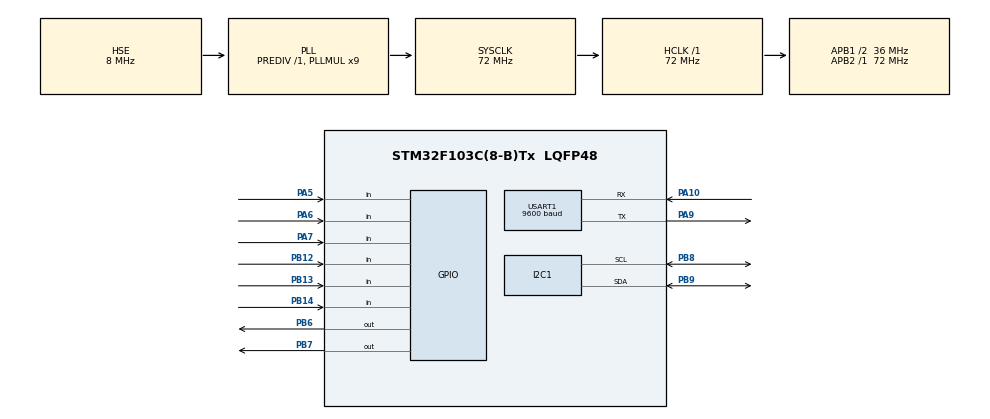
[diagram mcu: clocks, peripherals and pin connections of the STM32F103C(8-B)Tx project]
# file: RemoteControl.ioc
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I2C1.I2C_Mode=I2C_Fast
Mcu.Family=STM32F1
Mcu.Name=STM32F103C(8-B)Tx
Mcu.Package=LQFP48
NVIC.PriorityGroup=NVIC_PRIORITYGROUP_4
NVIC.USART1_IRQn=true\:0\:0\:false\:false\:true\:true\:true\:true
PA10.Mode=Asynchronous
PA10.Signal=USART1_RX
PA13.Mode=Serial_Wire
PA13.Signal=SYS_JTMS-SWDIO
PA14.Mode=Serial_Wire
PA14.Signal=SYS_JTCK-SWCLK
PA5.GPIO_PuPd=GPIO_PULLUP
PA5.Signal=GPIO_Input
PA6.GPIO_PuPd=GPIO_PULLUP
PA6.Signal=GPIO_Input
PA7.GPIO_PuPd=GPIO_PULLUP
PA7.Signal=GPIO_Input
PA9.Mode=Asynchronous
PA9.Signal=USART1_TX
PB12.GPIO_PuPd=GPIO_PULLDOWN
PB12.Signal=GPIO_Input
PB13.GPIO_PuPd=GPIO_PULLDOWN
PB13.Signal=GPIO_Input
PB14.GPIO_PuPd=GPIO_PULLDOWN
PB14.Signal=GPIO_Input
PB6.Signal=GPIO_Output
PB7.Signal=GPIO_Output
PB8.Mode=I2C
PB8.Signal=I2C1_SCL
PB9.Mode=I2C
PB9.Signal=I2C1_SDA
PD0-OSC_IN.Mode=HSE-External-Oscillator
PD0-OSC_IN.Signal=RCC_OSC_IN
PD1-OSC_OUT.Mode=HSE-External-Oscillator
PD1-OSC_OUT.Signal=RCC_OSC_OUT
ProjectManager.HeapSize=0x200
ProjectManager.StackSize=0x400
ProjectManager.TargetToolchain=CMake
RCC.AHBFreq_Value=72000000
RCC.APB1CLKDivider=RCC_HCLK_DIV2
RCC.APB1Freq_Value=36000000
RCC.APB1TimFreq_Value=72000000
RCC.APB2Freq_Value=72000000
RCC.APB2TimFreq_Value=72000000
RCC.HCLKFreq_Value=72000000
RCC.PLLMUL=RCC_PLL_MUL9
RCC.PLLSourceVirtual=RCC_PLLSOURCE_HSE
RCC.SYSCLKFreq_VALUE=72000000
RCC.SYSCLKSource=RCC_SYSCLKSOURCE_PLLCLK
RCC.USBFreq_Value=72000000
USART1.BaudRate=9600
USART1.VirtualMode=VM_ASYNC
board=custom

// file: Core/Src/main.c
/* USER CODE BEGIN Header */
/**
  ******************************************************************************
  * @file           : main.c
  * @brief          : Main program body
  ******************************************************************************
  * @attention
  *
  * Copyright (c) 2025 STMicroelectronics.
  * All rights reserved.
  *
  * This software is licensed under terms that can be found in the LICENSE file
  * in the root directory of this software component.
  * If no LICENSE file comes with this software, it is provided AS-IS.
  *
  ******************************************************************************
  */
/* USER CODE END Header */
#include "main.h"
#include "i2c.h"
#include "usart.h"
#include "gpio.h"

/* USER CODE BEGIN Includes */
#include <string.h>

#include "OLED.h"
#include "MPU6050.h"
/* USER CODE END Includes */

/* USER CODE BEGIN PV */
uint8_t wakeup_flag = 0;
uint8_t wakeup_bag[4] = {0x20,0x02,0x01,0x61};//0x20：包头，0x02：二号遥控器�?0x01：一号功能表示唤醒，0x61：包�?
uint8_t ChosePlayer1[4] = {0x20,0x02,0x02,0x61};//0x20：包头，0x02：二号遥控器�?0x02：二号功能表示�?�择角色1�?0x61：包�?
uint8_t ChosePlayer2[4] = {0x20,0x02,0x03,0x61};//0x20：包头，0x02：二号遥控器�? 0x03：三号功能表示�?�择角色2�? 0x61：包�?
uint8_t Left[4] = {0x20,0x02,0x04,0x61};//0x20：包头，0x02：二号遥控器�? 0x04：四号功能表示左移，0x61：包�?
uint8_t Jump[4] = {0x20,0x02,0x05,0x61};//0x20：包头，0x02：二号遥控器�? 0x05：五号功能表示跳跃，0x61：包�?
uint8_t Right[4] = {0x20,0x02,0x06,0x61};//0x20：包头，0x02：二号遥控器�? 0x06：六号功能表示又移，0x61：包�?
uint8_t ChosePlayer1Flag = 0;
uint8_t ChosePlayer2Flag = 0;
uint8_t AnswerBuffer[4] = {0};
/* USER CODE END PV */

void SystemClock_Config(void);

int main(void)
{

  /* MCU Configuration--------------------------------------------------------*/

  /* Reset of all peripherals, Initializes the Flash interface and the Systick. */
  HAL_Init();

  /* Configure the system clock */
  SystemClock_Config();

  /* Initialize all configured peripherals */
  MX_GPIO_Init();
  MX_I2C1_Init();
  MX_USART1_UART_Init();
  /* USER CODE BEGIN 2 */
  OLED_Init();
  MPU6050_Init();
  MPU6050_t MPU6050Data;
  CalculateBias(&MPU6050Data);
  while (!(ChosePlayer1Flag || ChosePlayer2Flag)) {
    if (HAL_GPIO_ReadPin(GPIOA,GPIO_PIN_6) == GPIO_PIN_RESET) {
      HAL_Delay(50);
      if (HAL_GPIO_ReadPin(GPIOA,GPIO_PIN_6) == GPIO_PIN_RESET) {
        ChosePlayer1Flag = 1;
      }
    }
    if (HAL_GPIO_ReadPin(GPIOA,GPIO_PIN_7) == GPIO_PIN_RESET) {
      HAL_Delay(50);
      if (HAL_GPIO_ReadPin(GPIOA,GPIO_PIN_7) == GPIO_PIN_RESET) {
        ChosePlayer2Flag = 1;
      }
    }
  }

  /* USER CODE END 2 */

  /* Infinite loop */
  /* USER CODE BEGIN WHILE */
  while (1)
  {
    if (ChosePlayer1Flag ) {
      while ( AnswerBuffer[0] != 0x20 && AnswerBuffer[1] != 0x02 && AnswerBuffer[2] != 0x02 && AnswerBuffer[3] != 0x61) {
        HAL_UART_Transmit(&huart1, ChosePlayer1, sizeof(ChosePlayer1), 100);
        HAL_UART_Receive(&huart1, AnswerBuffer, sizeof(AnswerBuffer), HAL_MAX_DELAY);
      }
      memset(AnswerBuffer, 0, sizeof(AnswerBuffer));
      ChosePlayer1Flag = 0;
    }
    if (ChosePlayer2Flag) {
      while ( AnswerBuffer[0] != 0x20 && AnswerBuffer[1] != 0x02 && AnswerBuffer[2] != 0x03 && AnswerBuffer[3] != 0x61) {
        HAL_UART_Transmit(&huart1, ChosePlayer2, sizeof(ChosePlayer2), 100);
        HAL_UART_Receive(&huart1, AnswerBuffer, sizeof(AnswerBuffer), HAL_MAX_DELAY);
      }
    memset(AnswerBuffer, 0, sizeof(AnswerBuffer));
      ChosePlayer2Flag = 0;
    }
    MPU6050_ReadRaw(&MPU6050Data);
    ComputeEulerAngles(&MPU6050Data);
    OLED_ShowFloatNum(0,0,MPU6050Data.pitch,3,3,OLED_6X8);
    OLED_ShowFloatNum(0,16,MPU6050Data.roll,3,3,OLED_6X8);
    OLED_ShowNum(0,32,wakeup_flag,1,OLED_6X8);
    if (MPU6050Data.pitch > 20) {
      wakeup_flag = 1;
      HAL_UART_Transmit(&huart1, wakeup_bag, sizeof(wakeup_bag), 100);
    }
    if (HAL_GPIO_ReadPin(GPIOB,GPIO_PIN_12) == GPIO_PIN_SET) {
      HAL_Delay(50);
      if (HAL_GPIO_ReadPin(GPIOB,GPIO_PIN_12) == GPIO_PIN_SET) {
        HAL_UART_Transmit(&huart1,Left,sizeof(Left),100);
      }
    }
    if (HAL_GPIO_ReadPin(GPIOB,GPIO_PIN_13) == GPIO_PIN_SET) {
      HAL_Delay(50);
      if (HAL_GPIO_ReadPin(GPIOB,GPIO_PIN_13) == GPIO_PIN_SET) {
        HAL_UART_Transmit(&huart1,Jump,sizeof(Jump),100);
      }
    }
    if (HAL_GPIO_ReadPin(GPIOB,GPIO_PIN_14) == GPIO_PIN_SET) {
      HAL_Delay(50);
      if (HAL_GPIO_ReadPin(GPIOB,GPIO_PIN_14) == GPIO_PIN_SET) {
        HAL_UART_Transmit(&huart1,Right,sizeof(Right),100);
      }
    }
    OLED_Update();
    /* USER CODE END WHILE */

  }
}

void SystemClock_Config(void)
{
  RCC_OscInitTypeDef RCC_OscInitStruct = {0};
  RCC_ClkInitTypeDef RCC_ClkInitStruct = {0};

  /** Initializes the RCC Oscillators according to the specified parameters
  * in the RCC_OscInitTypeDef structure.
  */
  RCC_OscInitStruct.OscillatorType = RCC_OSCILLATORTYPE_HSE;
  RCC_OscInitStruct.HSEState = RCC_HSE_ON;
  RCC_OscInitStruct.HSEPredivValue = RCC_HSE_PREDIV_DIV1;
  RCC_OscInitStruct.HSIState = RCC_HSI_ON;
  RCC_OscInitStruct.PLL.PLLState = RCC_PLL_ON;
  RCC_OscInitStruct.PLL.PLLSource = RCC_PLLSOURCE_HSE;
  RCC_OscInitStruct.PLL.PLLMUL = RCC_PLL_MUL9;
  if (HAL_RCC_OscConfig(&RCC_OscInitStruct) != HAL_OK)
  {
    Error_Handler();
  }

  /** Initializes the CPU, AHB and APB buses clocks
  */
  RCC_ClkInitStruct.ClockType = RCC_CLOCKTYPE_HCLK|RCC_CLOCKTYPE_SYSCLK
                              |RCC_CLOCKTYPE_PCLK1|RCC_CLOCKTYPE_PCLK2;
  RCC_ClkInitStruct.SYSCLKSource = RCC_SYSCLKSOURCE_PLLCLK;
  RCC_ClkInitStruct.AHBCLKDivider = RCC_SYSCLK_DIV1;
  RCC_ClkInitStruct.APB1CLKDivider = RCC_HCLK_DIV2;
  RCC_ClkInitStruct.APB2CLKDivider = RCC_HCLK_DIV1;

  if (HAL_RCC_ClockConfig(&RCC_ClkInitStruct, FLASH_LATENCY_2) != HAL_OK)
  {
    Error_Handler();
  }
}

void Error_Handler(void)
{
  __disable_irq();
  while (1)
  {
  }
}
